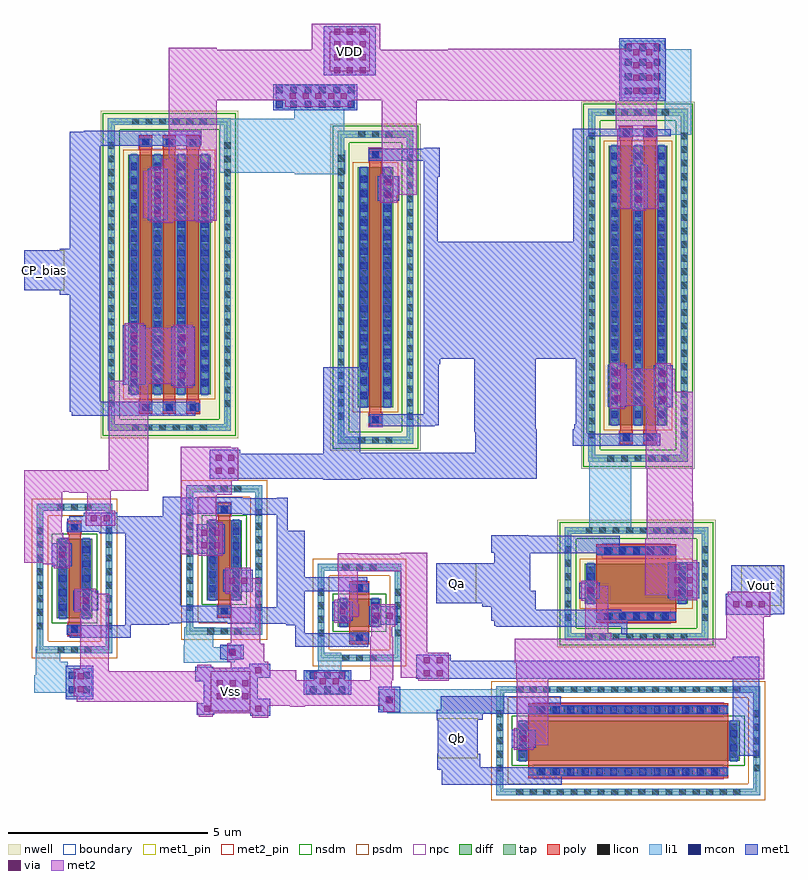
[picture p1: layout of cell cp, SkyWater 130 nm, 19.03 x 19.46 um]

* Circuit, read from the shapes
.subckt cp CP_bias Qa Qb VDD Vout Vss
XM1 Vss n1 n1 Vss sky130_fd_pr__nfet_01v8 w=2 l=0.3
XM2 Vss n1 n2 Vss sky130_fd_pr__nfet_01v8 w=2 l=0.3
XM3 Vss n1 n3 Vss sky130_fd_pr__nfet_01v8 w=0.7 l=0.5
XM4 n3 Qb Vout Vss sky130_fd_pr__nfet_01v8 w=1 l=5
XM5 VDD CP_bias n1 VDD sky130_fd_pr__pfet_01v8 w=6 l=0.3 m=3
XM6 VDD n2 n2 VDD sky130_fd_pr__pfet_01v8 w=6 l=0.3
XM7 n4 Qa Vout VDD sky130_fd_pr__pfet_01v8 w=1 l=2
XM8 VDD n2 n4 VDD sky130_fd_pr__pfet_01v8 w=7 l=0.3 m=2
.ends

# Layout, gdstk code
from math import pi, radians
import gdstk
lib = gdstk.Library(unit=1e-6, precision=1e-09)
def R(c, l, rs):  # rectangles x0, y0, x1, y1
    for r in rs: c.add(gdstk.rectangle(r[:2], r[2:], *l))
def A(c, l, x, y, w, h, nx, ny, dx, dy):  # array of equal rectangles
    R(c, l, [(x+i*dx, y+j*dy, x+i*dx+w, y+j*dy+h) for i in range(nx) for j in range(ny)])
nwell = (64, 20)
diff = (65, 20)
tap = (65, 44)
poly = (66, 20)
licon = (66, 44)
li1 = (67, 20)
mcon = (67, 44)
met1_pin = (68, 16)
met1 = (68, 20)
via = (68, 44)
met2_pin = (69, 16)
met2 = (69, 20)
nsdm = (93, 44)
psdm = (94, 20)
npc = (95, 20)
boundary = (235, 4)

sky130_fd_pr__nfet_01v8_ = lib.new_cell('sky130_fd_pr__nfet_01v8_PFL2KG')
R(sky130_fd_pr__nfet_01v8_, diff, [(-0.44,-1,0.44,1)])
R(sky130_fd_pr__nfet_01v8_, tap, [(-0.95,-1.87,0.95,-1.7), (-0.95,-1.7,-0.78,1.7), (0.78,-1.7,0.95,1.7), (-0.95,1.7,0.95,1.87)])
R(sky130_fd_pr__nfet_01v8_, poly, [(-0.165,-1.44,0.165,-1.11), (-0.15,-1.11,0.15,1.11), (-0.165,1.11,0.165,1.44)])
A(sky130_fd_pr__nfet_01v8_, licon, -0.425, -1.87, 0.17, 0.17, 3, 2, 0.34, 3.57)
A(sky130_fd_pr__nfet_01v8_, licon, -0.95, -1.275, 0.17, 0.17, 1, 8, 0, 0.34)
A(sky130_fd_pr__nfet_01v8_, licon, 0.78, -1.275, 0.17, 0.17, 1, 8, 0, 0.34)
A(sky130_fd_pr__nfet_01v8_, licon, -0.38, -0.935, 0.17, 0.17, 1, 6, 0, 0.34)
A(sky130_fd_pr__nfet_01v8_, licon, 0.21, -0.935, 0.17, 0.17, 1, 6, 0, 0.34)
R(sky130_fd_pr__nfet_01v8_, licon, [(-0.085,-1.36,0.085,-1.19), (-0.085,1.19,0.085,1.36)])
R(sky130_fd_pr__nfet_01v8_, li1, [(-0.95,-1.87,0.95,-1.7), (-0.95,-1.7,-0.78,1.7), (0.78,-1.7,0.95,1.7), (-0.165,-1.36,0.165,-1.19), (-0.38,-1.02,-0.21,1.02), (0.21,-1.02,0.38,1.02), (-0.165,1.19,0.165,1.36), (-0.95,1.7,0.95,1.87)])
A(sky130_fd_pr__nfet_01v8_, mcon, -0.38, -0.805, 0.17, 0.17, 1, 5, 0, 0.36)
A(sky130_fd_pr__nfet_01v8_, mcon, 0.21, -0.805, 0.17, 0.17, 1, 5, 0, 0.36)
R(sky130_fd_pr__nfet_01v8_, mcon, [(-0.085,-1.36,0.085,-1.19), (-0.085,1.19,0.085,1.36)])
R(sky130_fd_pr__nfet_01v8_, met1, [(-0.145,-1.39,0.145,-1.16), (-0.41,-1,-0.18,1), (0.18,-1,0.41,1), (-0.145,1.16,0.145,1.39)])
R(sky130_fd_pr__nfet_01v8_, nsdm, [(-0.565,-1.125,0.565,1.125)])
R(sky130_fd_pr__nfet_01v8_, psdm, [(-1.075,-1.995,1.075,-1.575), (-1.075,-1.575,-0.655,1.575), (0.655,-1.575,1.075,1.575), (-1.075,1.575,1.075,1.995)])
R(sky130_fd_pr__nfet_01v8_, npc, [(-0.185,-1.46,0.185,-1.09), (-0.185,1.09,0.185,1.46)])
R(sky130_fd_pr__nfet_01v8_, boundary, [(-0.865,-1.785,0.865,1.785)])

c_sky130_fd_pr__nfet_01v8_ = lib.new_cell('sky130_fd_pr__nfet_01v8_8PEQNF')
R(c_sky130_fd_pr__nfet_01v8_, diff, [(-0.54,-0.35,0.54,0.35)])
R(c_sky130_fd_pr__nfet_01v8_, tap, [(-1.05,-1.22,1.05,-1.05), (-1.05,-1.05,-0.88,1.05), (0.88,-1.05,1.05,1.05), (-1.05,1.05,1.05,1.22)])
R(c_sky130_fd_pr__nfet_01v8_, poly, [(-0.25,-0.79,0.25,0.79)])
A(c_sky130_fd_pr__nfet_01v8_, licon, -0.425, -1.22, 0.17, 0.17, 3, 2, 0.34, 2.27)
A(c_sky130_fd_pr__nfet_01v8_, licon, -1.05, -0.595, 0.17, 0.17, 1, 4, 0, 0.34)
A(c_sky130_fd_pr__nfet_01v8_, licon, 0.88, -0.595, 0.17, 0.17, 1, 4, 0, 0.34)
R(c_sky130_fd_pr__nfet_01v8_, licon, [(-0.085,-0.71,0.085,-0.54), (-0.48,-0.255,-0.31,-0.085), (0.31,-0.255,0.48,-0.085), (-0.48,0.085,-0.31,0.255), (0.31,0.085,0.48,0.255), (-0.085,0.54,0.085,0.71)])
R(c_sky130_fd_pr__nfet_01v8_, li1, [(-1.05,-1.22,1.05,-1.05), (-1.05,-1.05,-0.88,1.05), (0.88,-1.05,1.05,1.05), (-0.25,-0.71,0.25,-0.54), (-0.48,-0.37,-0.31,0.37), (0.31,-0.37,0.48,0.37), (-0.25,0.54,0.25,0.71), (-1.05,1.05,1.05,1.22)])
R(c_sky130_fd_pr__nfet_01v8_, mcon, [(-0.085,-0.71,0.085,-0.54), (-0.48,-0.265,-0.31,-0.095), (0.31,-0.265,0.48,-0.095), (-0.48,0.095,-0.31,0.265), (0.31,0.095,0.48,0.265), (-0.085,0.54,0.085,0.71)])
R(c_sky130_fd_pr__nfet_01v8_, met1, [(-0.23,-0.74,0.23,-0.51), (-0.51,-0.35,-0.28,0.35), (0.28,-0.35,0.51,0.35), (-0.23,0.51,0.23,0.74)])
R(c_sky130_fd_pr__nfet_01v8_, nsdm, [(-0.665,-0.475,0.665,0.475)])
R(c_sky130_fd_pr__nfet_01v8_, psdm, [(-1.175,-1.345,1.175,-0.925), (-1.175,-0.925,-0.755,0.925), (0.755,-0.925,1.175,0.925), (-1.175,0.925,1.175,1.345)])
R(c_sky130_fd_pr__nfet_01v8_, npc, [(-0.185,-0.81,0.185,-0.44), (-0.185,0.44,0.185,0.81)])
R(c_sky130_fd_pr__nfet_01v8_, boundary, [(-0.96,-1.13,0.96,1.13)])

c_sky130_fd_pr__nfet_01v8__ = lib.new_cell('sky130_fd_pr__nfet_01v8_U4BYG2')
R(c_sky130_fd_pr__nfet_01v8__, diff, [(-2.79,-0.5,2.79,0.5)])
R(c_sky130_fd_pr__nfet_01v8__, tap, [(-3.3,-1.37,3.3,-1.2), (-3.3,-1.2,-3.13,1.2), (3.13,-1.2,3.3,1.2), (-3.3,1.2,3.3,1.37)])
R(c_sky130_fd_pr__nfet_01v8__, poly, [(-2.5,-0.94,2.5,0.94)])
A(c_sky130_fd_pr__nfet_01v8__, licon, -2.805, -1.37, 0.17, 0.17, 17, 2, 0.34, 2.57)
A(c_sky130_fd_pr__nfet_01v8__, licon, -2.295, -0.86, 0.17, 0.17, 14, 2, 0.34, 1.55)
A(c_sky130_fd_pr__nfet_01v8__, licon, -3.3, -0.765, 0.17, 0.17, 1, 5, 0, 0.34)
A(c_sky130_fd_pr__nfet_01v8__, licon, 3.13, -0.765, 0.17, 0.17, 1, 5, 0, 0.34)
A(c_sky130_fd_pr__nfet_01v8__, licon, -2.73, -0.425, 0.17, 0.17, 1, 3, 0, 0.34)
A(c_sky130_fd_pr__nfet_01v8__, licon, 2.56, -0.425, 0.17, 0.17, 1, 3, 0, 0.34)
R(c_sky130_fd_pr__nfet_01v8__, li1, [(-3.3,-1.37,3.3,-1.2), (-3.3,-1.2,-3.13,1.2), (3.13,-1.2,3.3,1.2), (-2.5,-0.86,2.5,-0.69), (-2.73,-0.52,-2.56,0.52), (2.56,-0.52,2.73,0.52), (-2.5,0.69,2.5,0.86), (-3.3,1.2,3.3,1.37)])
A(c_sky130_fd_pr__nfet_01v8__, mcon, -2.245, -0.86, 0.17, 0.17, 13, 2, 0.36, 1.55)
R(c_sky130_fd_pr__nfet_01v8__, mcon, [(-2.73,-0.265,-2.56,-0.095), (2.56,-0.265,2.73,-0.095), (-2.73,0.095,-2.56,0.265), (2.56,0.095,2.73,0.265)])
R(c_sky130_fd_pr__nfet_01v8__, met1, [(-2.48,-0.89,2.48,-0.66), (-2.76,-0.5,-2.53,0.5), (2.53,-0.5,2.76,0.5), (-2.48,0.66,2.48,0.89)])
R(c_sky130_fd_pr__nfet_01v8__, nsdm, [(-2.915,-0.625,2.915,0.625)])
R(c_sky130_fd_pr__nfet_01v8__, psdm, [(-3.425,-1.495,3.425,-1.075), (-3.425,-1.075,-3.005,1.075), (3.005,-1.075,3.425,1.075), (-3.425,1.075,3.425,1.495)])
R(c_sky130_fd_pr__nfet_01v8__, npc, [(-2.395,-0.96,2.395,-0.59), (-2.395,0.59,2.395,0.96)])
R(c_sky130_fd_pr__nfet_01v8__, boundary, [(-3.21,-1.28,3.21,1.28)])

sky130_fd_pr__pfet_01v8_ = lib.new_cell('sky130_fd_pr__pfet_01v8_6QN7WZ')
R(sky130_fd_pr__pfet_01v8_, nwell, [(-1.425,-4.595,1.425,4.595)])
R(sky130_fd_pr__pfet_01v8_, diff, [(-0.735,-3.5,0.735,3.5)])
R(sky130_fd_pr__pfet_01v8_, tap, [(-1.245,-4.415,1.245,-4.245), (-1.245,-4.245,-1.075,4.245), (1.075,-4.245,1.245,4.245), (-1.245,4.245,1.245,4.415)])
R(sky130_fd_pr__pfet_01v8_, poly, [(-0.46,-3.985,-0.13,-3.655), (0.13,-3.985,0.46,-3.655), (-0.445,-3.655,-0.145,3.655), (0.145,-3.655,0.445,3.655), (-0.46,3.655,-0.13,3.985), (0.13,3.655,0.46,3.985)])
A(sky130_fd_pr__pfet_01v8_, licon, -0.765, -4.415, 0.17, 0.17, 5, 2, 0.34, 8.66)
A(sky130_fd_pr__pfet_01v8_, licon, -1.245, -3.825, 0.17, 0.17, 1, 23, 0, 0.34)
A(sky130_fd_pr__pfet_01v8_, licon, 1.075, -3.825, 0.17, 0.17, 1, 23, 0, 0.34)
A(sky130_fd_pr__pfet_01v8_, licon, -0.675, -3.315, 0.17, 0.17, 3, 20, 0.59, 0.34)
R(sky130_fd_pr__pfet_01v8_, licon, [(-0.38,-3.905,-0.21,-3.735), (0.21,-3.905,0.38,-3.735), (-0.38,3.735,-0.21,3.905), (0.21,3.735,0.38,3.905)])
A(sky130_fd_pr__pfet_01v8_, li1, -0.675, -3.52, 0.17, 7.04, 3, 1, 0.59, 0)
R(sky130_fd_pr__pfet_01v8_, li1, [(-1.245,-4.415,1.245,-4.245), (-1.245,-4.245,-1.075,4.245), (1.075,-4.245,1.245,4.245), (-0.46,-3.905,-0.13,-3.735), (0.13,-3.905,0.46,-3.735), (-0.46,3.735,-0.13,3.905), (0.13,3.735,0.46,3.905), (-1.245,4.245,1.245,4.415)])
A(sky130_fd_pr__pfet_01v8_, mcon, -0.675, -3.325, 0.17, 0.17, 3, 19, 0.59, 0.36)
R(sky130_fd_pr__pfet_01v8_, mcon, [(-0.38,-3.905,-0.21,-3.735), (0.21,-3.905,0.38,-3.735), (-0.38,3.735,-0.21,3.905), (0.21,3.735,0.38,3.905)])
A(sky130_fd_pr__pfet_01v8_, met1, -0.705, -3.5, 0.23, 7, 3, 1, 0.59, 0)
R(sky130_fd_pr__pfet_01v8_, met1, [(-0.44,-3.935,-0.15,-3.705), (0.15,-3.935,0.44,-3.705), (-0.44,3.705,-0.15,3.935), (0.15,3.705,0.44,3.935)])
R(sky130_fd_pr__pfet_01v8_, nsdm, [(-1.37,-4.54,1.37,-4.12), (-1.37,-4.12,-0.95,4.12), (0.95,-4.12,1.37,4.12), (-1.37,4.12,1.37,4.54)])
R(sky130_fd_pr__pfet_01v8_, psdm, [(-0.86,-3.625,0.86,3.625)])
R(sky130_fd_pr__pfet_01v8_, npc, [(-0.48,-4.005,0.48,-3.635), (-0.48,3.635,0.48,4.005)])
R(sky130_fd_pr__pfet_01v8_, boundary, [(-1.16,-4.33,1.16,4.33)])

c_sky130_fd_pr__pfet_01v8_ = lib.new_cell('sky130_fd_pr__pfet_01v8_6QP7WZ')
R(c_sky130_fd_pr__pfet_01v8_, nwell, [(-1.13,-4.095,1.13,4.095)])
R(c_sky130_fd_pr__pfet_01v8_, diff, [(-0.44,-3,0.44,3)])
R(c_sky130_fd_pr__pfet_01v8_, tap, [(-0.95,-3.915,0.95,-3.745), (-0.95,-3.745,-0.78,3.745), (0.78,-3.745,0.95,3.745), (-0.95,3.745,0.95,3.915)])
R(c_sky130_fd_pr__pfet_01v8_, poly, [(-0.165,-3.485,0.165,-3.155), (-0.15,-3.155,0.15,3.155), (-0.165,3.155,0.165,3.485)])
A(c_sky130_fd_pr__pfet_01v8_, licon, -0.425, -3.915, 0.17, 0.17, 3, 2, 0.34, 7.66)
A(c_sky130_fd_pr__pfet_01v8_, licon, -0.95, -3.315, 0.17, 0.17, 1, 20, 0, 0.34)
A(c_sky130_fd_pr__pfet_01v8_, licon, 0.78, -3.315, 0.17, 0.17, 1, 20, 0, 0.34)
A(c_sky130_fd_pr__pfet_01v8_, licon, -0.38, -2.805, 0.17, 0.17, 1, 17, 0, 0.34)
A(c_sky130_fd_pr__pfet_01v8_, licon, 0.21, -2.805, 0.17, 0.17, 1, 17, 0, 0.34)
R(c_sky130_fd_pr__pfet_01v8_, licon, [(-0.085,-3.405,0.085,-3.235), (-0.085,3.235,0.085,3.405)])
R(c_sky130_fd_pr__pfet_01v8_, li1, [(-0.95,-3.915,0.95,-3.745), (-0.95,-3.745,-0.78,3.745), (0.78,-3.745,0.95,3.745), (-0.165,-3.405,0.165,-3.235), (-0.38,-3.02,-0.21,3.02), (0.21,-3.02,0.38,3.02), (-0.165,3.235,0.165,3.405), (-0.95,3.745,0.95,3.915)])
A(c_sky130_fd_pr__pfet_01v8_, mcon, -0.38, -2.785, 0.17, 0.17, 1, 16, 0, 0.36)
A(c_sky130_fd_pr__pfet_01v8_, mcon, 0.21, -2.785, 0.17, 0.17, 1, 16, 0, 0.36)
R(c_sky130_fd_pr__pfet_01v8_, mcon, [(-0.085,-3.405,0.085,-3.235), (-0.085,3.235,0.085,3.405)])
R(c_sky130_fd_pr__pfet_01v8_, met1, [(-0.145,-3.435,0.145,-3.205), (-0.41,-3,-0.18,3), (0.18,-3,0.41,3), (-0.145,3.205,0.145,3.435)])
R(c_sky130_fd_pr__pfet_01v8_, nsdm, [(-1.075,-4.04,1.075,-3.62), (-1.075,-3.62,-0.655,3.62), (0.655,-3.62,1.075,3.62), (-1.075,3.62,1.075,4.04)])
R(c_sky130_fd_pr__pfet_01v8_, psdm, [(-0.565,-3.125,0.565,3.125)])
R(c_sky130_fd_pr__pfet_01v8_, npc, [(-0.185,-3.505,0.185,-3.135), (-0.185,3.135,0.185,3.505)])
R(c_sky130_fd_pr__pfet_01v8_, boundary, [(-0.865,-3.83,0.865,3.83)])

c_sky130_fd_pr__pfet_01v8__ = lib.new_cell('sky130_fd_pr__pfet_01v8_VLWSF2')
R(c_sky130_fd_pr__pfet_01v8__, nwell, [(-1.98,-1.595,1.98,1.595)])
R(c_sky130_fd_pr__pfet_01v8__, diff, [(-1.29,-0.5,1.29,0.5)])
R(c_sky130_fd_pr__pfet_01v8__, tap, [(-1.8,-1.415,1.8,-1.245), (-1.8,-1.245,-1.63,1.245), (1.63,-1.245,1.8,1.245), (-1.8,1.245,1.8,1.415)])
R(c_sky130_fd_pr__pfet_01v8__, poly, [(-1,-0.985,1,0.985)])
A(c_sky130_fd_pr__pfet_01v8__, licon, -1.275, -1.415, 0.17, 0.17, 8, 2, 0.34, 2.66)
A(c_sky130_fd_pr__pfet_01v8__, licon, -1.8, -0.935, 0.17, 0.17, 1, 6, 0, 0.34)
A(c_sky130_fd_pr__pfet_01v8__, licon, 1.63, -0.935, 0.17, 0.17, 1, 6, 0, 0.34)
A(c_sky130_fd_pr__pfet_01v8__, licon, -0.765, -0.905, 0.17, 0.17, 5, 2, 0.34, 1.64)
A(c_sky130_fd_pr__pfet_01v8__, licon, -1.23, -0.425, 0.17, 0.17, 1, 3, 0, 0.34)
A(c_sky130_fd_pr__pfet_01v8__, licon, 1.06, -0.425, 0.17, 0.17, 1, 3, 0, 0.34)
R(c_sky130_fd_pr__pfet_01v8__, li1, [(-1.8,-1.415,1.8,-1.245), (-1.8,-1.245,-1.63,1.245), (1.63,-1.245,1.8,1.245), (-1,-0.905,1,-0.735), (-1.23,-0.52,-1.06,0.52), (1.06,-0.52,1.23,0.52), (-1,0.735,1,0.905), (-1.8,1.245,1.8,1.415)])
A(c_sky130_fd_pr__pfet_01v8__, mcon, -0.805, -0.905, 0.17, 0.17, 5, 2, 0.36, 1.64)
R(c_sky130_fd_pr__pfet_01v8__, mcon, [(-1.23,-0.265,-1.06,-0.095), (1.06,-0.265,1.23,-0.095), (-1.23,0.095,-1.06,0.265), (1.06,0.095,1.23,0.265)])
R(c_sky130_fd_pr__pfet_01v8__, met1, [(-0.98,-0.935,0.98,-0.705), (-1.26,-0.5,-1.03,0.5), (1.03,-0.5,1.26,0.5), (-0.98,0.705,0.98,0.935)])
R(c_sky130_fd_pr__pfet_01v8__, nsdm, [(-1.925,-1.54,1.925,-1.12), (-1.925,-1.12,-1.505,1.12), (1.505,-1.12,1.925,1.12), (-1.925,1.12,1.925,1.54)])
R(c_sky130_fd_pr__pfet_01v8__, psdm, [(-1.415,-0.625,1.415,0.625)])
R(c_sky130_fd_pr__pfet_01v8__, npc, [(-0.865,-1.005,0.865,-0.635), (-0.865,0.635,0.865,1.005)])
R(c_sky130_fd_pr__pfet_01v8__, boundary, [(-1.715,-1.33,1.715,1.33)])

c_sky130_fd_pr__pfet_01v8___ = lib.new_cell('sky130_fd_pr__pfet_01v8_6QF7WZ')
R(c_sky130_fd_pr__pfet_01v8___, nwell, [(-1.72,-4.095,1.72,4.095)])
R(c_sky130_fd_pr__pfet_01v8___, diff, [(-1.03,-3,1.03,3)])
R(c_sky130_fd_pr__pfet_01v8___, tap, [(-1.54,-3.915,1.54,-3.745), (-1.54,-3.745,-1.37,3.745), (1.37,-3.745,1.54,3.745), (-1.54,3.745,1.54,3.915)])
A(c_sky130_fd_pr__pfet_01v8___, poly, -0.755, -3.485, 0.33, 0.33, 3, 2, 0.59, 6.64)
A(c_sky130_fd_pr__pfet_01v8___, poly, -0.74, -3.155, 0.3, 6.31, 3, 1, 0.59, 0)
A(c_sky130_fd_pr__pfet_01v8___, licon, -0.935, -3.915, 0.17, 0.17, 6, 2, 0.34, 7.66)
A(c_sky130_fd_pr__pfet_01v8___, licon, -0.675, -3.405, 0.17, 0.17, 3, 2, 0.59, 6.64)
A(c_sky130_fd_pr__pfet_01v8___, licon, -1.54, -3.315, 0.17, 0.17, 1, 20, 0, 0.34)
A(c_sky130_fd_pr__pfet_01v8___, licon, 1.37, -3.315, 0.17, 0.17, 1, 20, 0, 0.34)
A(c_sky130_fd_pr__pfet_01v8___, licon, -0.97, -2.805, 0.17, 0.17, 4, 17, 0.59, 0.34)
A(c_sky130_fd_pr__pfet_01v8___, li1, -0.755, -3.405, 0.33, 0.17, 3, 2, 0.59, 6.64)
A(c_sky130_fd_pr__pfet_01v8___, li1, -0.97, -3.02, 0.17, 6.04, 4, 1, 0.59, 0)
R(c_sky130_fd_pr__pfet_01v8___, li1, [(-1.54,-3.915,1.54,-3.745), (-1.54,-3.745,-1.37,3.745), (1.37,-3.745,1.54,3.745), (-1.54,3.745,1.54,3.915)])
A(c_sky130_fd_pr__pfet_01v8___, mcon, -0.675, -3.405, 0.17, 0.17, 3, 2, 0.59, 6.64)
A(c_sky130_fd_pr__pfet_01v8___, mcon, -0.97, -2.785, 0.17, 0.17, 4, 16, 0.59, 0.36)
A(c_sky130_fd_pr__pfet_01v8___, met1, -0.735, -3.435, 0.29, 0.23, 3, 2, 0.59, 6.64)
A(c_sky130_fd_pr__pfet_01v8___, met1, -1, -3, 0.23, 6, 4, 1, 0.59, 0)
R(c_sky130_fd_pr__pfet_01v8___, nsdm, [(-1.665,-4.04,1.665,-3.62), (-1.665,-3.62,-1.245,3.62), (1.245,-3.62,1.665,3.62), (-1.665,3.62,1.665,4.04)])
R(c_sky130_fd_pr__pfet_01v8___, psdm, [(-1.155,-3.125,1.155,3.125)])
R(c_sky130_fd_pr__pfet_01v8___, npc, [(-0.775,-3.505,0.775,-3.135), (-0.775,3.135,0.775,3.505)])
R(c_sky130_fd_pr__pfet_01v8___, boundary, [(-1.455,-3.83,1.455,3.83)])

c_cp = lib.new_cell('cp')
R(c_cp, li1, [(25.56,-23.97,28.49,-23.89), (25.36,-23.89,28.49,-23.37), (17.53,-23.56,18.16,-23.46), (23.52,-23.48,24.6,-22.92), (16.72,-23.46,18.16,-23.02), (16.75,-23.02,18.16,-22.84), (23.83,-22.92,24.4,-22.46), (16.75,-22.84,17.55,-22.68), (20.46,-22.7,21.05,-22.69), (20.46,-22.69,21.74,-22.59), (16.75,-22.68,17.37,-22.3), (20.46,-22.59,21.9,-22.32), (20.46,-22.32,21.2,-22.26), (21.44,-22.32,21.9,-22.28), (20.47,-22.26,21.2,-21.98), (20.47,-21.98,21.25,-21.82), (30.61,-19.48,31.66,-17.5), (23.24,-10.48,24.5,-10.44), (21.36,-10.44,24.5,-9.87), (21.36,-9.87,24.48,-9.08), (32.5,-9.49,33.17,-8.57), (23.23,-9.08,24.48,-8.84), (22.76,-8.84,24.74,-8.25), (31.4,-8.57,33.17,-7.34), (31.4,-7.34,32.5,-7.13)])
A(c_cp, mcon, 23.615, -23.465, 0.17, 0.17, 3, 2, 0.36, 0.36)
A(c_cp, mcon, 22.765, -8.81, 0.17, 0.17, 6, 2, 0.36, 0.36)
A(c_cp, mcon, 31.505, -8.475, 0.17, 0.17, 3, 4, 0.36, 0.36)
R(c_cp, mcon, [(25.52,-23.715,25.69,-23.545), (17.58,-23.465,17.75,-23.295), (17.94,-23.465,18.11,-23.295), (17.58,-23.105,17.75,-22.935), (17.94,-23.105,18.11,-22.935), (21.585,-22.52,21.755,-22.35)])
R(c_cp, met1_pin, [(26.82,-25.1,27.82,-24.1), (34.42,-21.28,35.42,-20.28), (26.78,-21.22,27.78,-20.22), (16.47,-13.38,17.47,-12.38)])
R(c_cp, met1, [(26.92,-25.76,29.93,-25.39), (26.81,-25.39,29.93,-25.32), (26.81,-25.32,27.88,-24.99), (34.21,-25.04,34.87,-23.11), (26.82,-24.99,27.82,-24.15), (28.67,-24.83,29.27,-24.39), (26.8,-24.15,27.82,-24.13), (26.8,-24.13,27.95,-23.98), (22.13,-24.03,22.62,-23.97), (20.79,-24.01,21.23,-23.97), (26.8,-23.98,29.9,-23.88), (20.79,-23.97,22.62,-23.72), (25.33,-23.95,25.88,-23.31), (26.89,-23.88,29.9,-23.54), (20.96,-23.72,22.62,-23.61), (17.5,-23.62,18.19,-22.78), (20.96,-23.61,22.31,-23.17), (23.46,-23.51,24.66,-22.89), (20.75,-23.17,22.31,-23.08), (26.28,-23.11,34.87,-22.65), (20.75,-23.08,22.62,-22.83), (20.75,-22.83,21.2,-22.81), (22.1,-22.83,22.62,-22.73), (26.28,-22.65,27.14,-22.5), (34.21,-22.65,34.87,-22.55), (21.5,-22.63,21.88,-22.62), (21.38,-22.62,21.96,-22.25), (23.25,-22.31,25.08,-22.05), (17.6,-22.08,19.13,-22), (23.25,-22.05,24.95,-21.97), (17.53,-22,19.13,-21.77), (31.42,-21.99,31.57,-21.8), (23.25,-21.97,23.49,-21.77), (28.28,-21.8,31.57,-21.78), (28.24,-21.78,31.57,-21.66), (18.99,-21.77,19.13,-21.76), (23.03,-21.77,23.49,-21.73), (18.99,-21.76,20.1,-21.72), (25.11,-21.76,25.8,-21.29), (21.56,-21.73,23.49,-21.69), (18.99,-21.72,20.39,-21.7), (19,-21.7,20.39,-21.69), (19,-21.69,23.49,-21.32), (28.16,-21.66,31.57,-21.54), (24.18,-21.65,24.69,-21.18), (28.16,-21.54,31.42,-21.38), (34.03,-21.5,35.2,-21.49), (34.03,-21.49,35.49,-20.98), (17.69,-21.39,18.32,-20.9), (28.16,-21.38,29.28,-21.31), (19,-21.32,21.62,-21.28), (22.79,-21.32,23.49,-20.91), (27.93,-21.31,29.28,-21.22), (19,-21.28,20.39,-19.46), (26.78,-21.22,29.28,-20.9), (30.36,-21.1,30.88,-20.7), (32.58,-21.09,33.37,-20.19), (34.17,-20.98,35.49,-20.26), (21.45,-20.93,22.19,-20.38), (22.79,-20.91,25.06,-20.57), (26.78,-20.9,29.14,-20.22), (22.79,-20.57,23.49,-19.4), (17.16,-20.29,17.65,-19.72), (28.23,-20.22,29.14,-19.96), (20.78,-19.98,21.49,-19.24), (28.23,-19.96,31.38,-19.95), (28.16,-19.95,31.38,-19.53), (28.16,-19.53,29.09,-19.51), (18.34,-19.46,20.39,-19.42), (17.53,-19.42,20.39,-19.17), (22.79,-19.4,23.07,-19), (17.54,-19.17,20.39,-19.1), (17.59,-19.1,20.39,-19.04), (17.95,-19.04,18.79,-18.95), (19.93,-19.04,20.39,-18.99), (21.94,-19,23.07,-18.98), (19.93,-18.99,20.76,-18.98), (19.93,-18.98,23.07,-18.59), (19.93,-18.59,21.94,-18.58), (22.79,-18.59,23.07,-18.58), (19.93,-18.58,20.39,-18.55), (20.76,-18.58,21.94,-18.56), (23.95,-18.13,24.88,-18.1), (21.11,-18.1,29.3,-17.47), (21.11,-17.47,21.88,-17.37), (23.95,-17.47,29.3,-17.45), (23.95,-17.45,24.88,-16.02), (27.76,-17.45,29.3,-16.92), (30.2,-17.27,32.39,-16.97), (30.2,-16.97,30.56,-16.86), (27.74,-16.92,29.3,-16.86), (27.74,-16.86,29.28,-15.1), (30.24,-16.86,30.56,-16.73), (25.12,-16.79,26.74,-16.76), (25.12,-16.76,26.85,-16.49), (30.27,-16.73,30.56,-15.1), (17.66,-16.52,20.75,-16.42), (26.47,-16.49,26.85,-15.23), (17.6,-16.42,20.75,-16.17), (32.23,-16.31,32.7,-15.26), (31.08,-16.29,31.55,-15.24), (17.6,-16.17,18.37,-13.49), (23.95,-16.02,25.09,-15.31), (20.15,-15.77,20.73,-14.29), (18.93,-15.74,19.51,-14.26), (26.47,-15.23,26.88,-15.1), (26.47,-15.1,30.56,-12.17), (17.35,-13.49,18.37,-13.38), (16.47,-13.38,18.37,-12.38), (17.35,-12.38,18.37,-12.34), (17.6,-12.34,18.37,-9.76), (26.47,-12.17,26.82,-10.54), (30.21,-12.17,30.56,-10.54), (20.72,-11.63,21.22,-10.35), (19.56,-11.62,20.06,-10.34), (31.64,-11.34,32.08,-10.24), (25.32,-11.14,25.86,-10.53), (26.47,-10.54,26.87,-10.14), (30.2,-10.54,30.56,-9.52), (25.09,-10.14,26.87,-9.84), (26.47,-9.84,26.87,-9.81), (17.6,-9.76,20.9,-9.41), (30.2,-9.52,32.66,-9.35), (17.95,-9.41,20.9,-9.38), (30.2,-9.35,32.11,-9.33), (22.7,-8.87,24.8,-8.22), (31.37,-8.63,32.53,-7.07), (23.97,-8,25.27,-6.77)])
A(c_cp, via, 21.29, -23.615, 0.15, 0.15, 3, 2, 0.32, 0.32)
A(c_cp, via, 34.22, -21.315, 0.15, 0.15, 3, 1, 0.32, 0)
A(c_cp, via, 32.74, -21.035, 0.15, 0.15, 1, 3, 0, 0.32)
A(c_cp, via, 33.06, -21.035, 0.15, 0.15, 1, 3, 0, 0.32)
A(c_cp, via, 32.39, -16.18, 0.15, 0.15, 1, 3, 0, 0.32)
A(c_cp, via, 31.24, -16.16, 0.15, 0.15, 1, 3, 0, 0.32)
A(c_cp, via, 20.365, -15.585, 0.15, 0.15, 1, 4, 0, 0.32)
A(c_cp, via, 19.145, -15.555, 0.15, 0.15, 1, 4, 0, 0.32)
A(c_cp, via, 20.895, -11.545, 0.15, 0.15, 1, 4, 0, 0.32)
A(c_cp, via, 19.735, -11.535, 0.15, 0.15, 1, 4, 0, 0.32)
A(c_cp, via, 31.785, -11.185, 0.15, 0.15, 1, 3, 0, 0.32)
A(c_cp, via, 23.115, -8.59, 0.15, 0.15, 5, 1, 0.32, 0)
A(c_cp, via, 31.715, -8.455, 0.15, 0.15, 1, 4, 0, 0.32)
A(c_cp, via, 32.035, -8.455, 0.15, 0.15, 1, 4, 0, 0.32)
A(c_cp, via, 24.225, -7.94, 0.15, 0.15, 3, 4, 0.32, 0.32)
R(c_cp, via, [(28.895,-24.685,29.045,-24.535), (20.97,-23.935,21.12,-23.785), (22.25,-23.935,22.4,-23.785), (25.525,-23.72,25.675,-23.57), (17.81,-23.445,17.96,-23.295), (23.87,-23.245,24.02,-23.095), (24.19,-23.245,24.34,-23.095), (17.81,-23.125,17.96,-22.975), (26.475,-23.04,26.625,-22.89), (26.795,-23.04,26.945,-22.89), (22.25,-22.975,22.4,-22.825), (26.475,-22.72,26.625,-22.57), (26.795,-22.72,26.945,-22.57), (21.615,-22.525,21.765,-22.375), (25.22,-21.6,25.37,-21.45), (25.54,-21.6,25.69,-21.45), (24.36,-21.49,24.51,-21.34), (17.93,-21.22,18.08,-21.07), (30.545,-20.975,30.695,-20.825), (21.585,-20.73,21.735,-20.58), (21.905,-20.73,22.055,-20.58), (17.33,-20.08,17.48,-19.93), (20.9,-19.845,21.05,-19.695), (21.22,-19.845,21.37,-19.695), (20.9,-19.525,21.05,-19.375), (21.22,-19.525,21.37,-19.375), (18.135,-19.16,18.285,-19.01), (18.455,-19.16,18.605,-19.01), (21.26,-17.97,21.41,-17.82), (21.58,-17.97,21.73,-17.82), (21.26,-17.65,21.41,-17.5), (21.58,-17.65,21.73,-17.5), (25.515,-11.07,25.665,-10.92), (25.515,-10.75,25.665,-10.6)])
R(c_cp, met2_pin, [(21.13,-23.92,22.13,-22.92), (24.12,-7.9,25.12,-6.9)])
R(c_cp, met2, [(28.72,-24.88,29.22,-24.77), (28.72,-24.77,29.59,-24.34), (28.8,-24.34,29.59,-23.12), (22.18,-24.08,22.57,-23.97), (20.84,-24.06,21.18,-24), (20.8,-24,21.18,-23.97), (20.8,-23.97,22.57,-23.78), (25.46,-23.93,25.74,-23.78), (23.13,-23.81,23.49,-23.78), (20.8,-23.78,25.74,-23.68), (17.78,-23.68,25.74,-23.55), (17.71,-23.55,25.74,-23.36), (17.71,-23.36,25.67,-23.14), (26.33,-23.16,27.09,-23.08), (17.71,-23.14,23.28,-22.92), (23.73,-23.14,24.48,-22.94), (25.13,-23.14,25.7,-22.05), (28.79,-23.12,34.99,-22.7), (25.89,-23.08,27.09,-22.45), (17.71,-22.92,18.58,-22.87), (20.8,-22.92,23.28,-22.9), (20.8,-22.9,23.22,-22.89), (20.8,-22.89,22.57,-22.83), (17.87,-22.87,18.58,-21.44), (20.8,-22.83,21.15,-22.76), (21.64,-22.83,22.57,-22.68), (28.75,-22.7,34.99,-22.1), (21.55,-22.68,22.47,-22.23), (25.89,-22.45,26.56,-20.41), (21.55,-22.23,22.37,-22.22), (21.64,-22.22,22.37,-20.98), (30.51,-22.1,31.16,-21.96), (34.05,-22.1,34.98,-21.55), (25.16,-22.05,25.68,-21.81), (30.51,-21.96,31.09,-21.15), (25.16,-21.81,25.75,-21.24), (24.23,-21.7,24.64,-21.55), (24.23,-21.55,24.84,-21.23), (34.05,-21.55,35.15,-21.05), (17.72,-21.44,18.58,-21.27), (17.72,-21.27,18.6,-20.98), (24.23,-21.23,24.82,-21.13), (30.41,-21.15,31.09,-20.78), (32.63,-21.14,33.32,-21.01), (24.33,-21.13,24.82,-20.41), (34.08,-21.05,35.15,-20.93), (32.02,-21.01,33.32,-20.14), (17.72,-20.98,18.27,-20.85), (21.5,-20.98,22.37,-20.59), (30.41,-20.78,30.83,-20.65), (21.5,-20.59,22.14,-20.33), (24.31,-20.41,26.56,-19.98), (17.21,-20.34,17.6,-20.24), (16.94,-20.24,17.6,-20.2), (16.46,-20.2,17.6,-19.67), (32.02,-20.14,33.2,-19.6), (20.83,-20.03,21.44,-19.99), (20.39,-19.99,21.44,-19.19), (24.33,-19.98,24.82,-19.97), (25.89,-19.98,26.56,-19.95), (16.46,-19.67,17.58,-19.58), (32.05,-19.6,33.22,-18.69), (16.46,-19.58,17.44,-19.45), (16.46,-19.45,17.4,-19.06), (18,-19.27,18.74,-18.9), (20.39,-19.19,21.29,-19.02), (16.46,-19.06,17.42,-18.42), (20.39,-19.02,21.28,-18.53), (18.05,-18.9,18.63,-18.45), (32.05,-18.69,33.2,-17.83), (20.39,-18.53,21.29,-18.5), (20.39,-18.5,21.66,-18.15), (17.59,-18.45,18.63,-18.42), (16.46,-18.42,18.63,-18.4), (16.46,-18.4,19.57,-18.1), (20.39,-18.15,21.83,-17.32), (16.47,-18.1,19.57,-17.88), (18.58,-17.88,19.57,-15.72), (32.03,-17.83,33.21,-16.27), (20.39,-17.32,21.64,-17.3), (31.13,-16.34,31.5,-16.27), (31.13,-16.27,33.21,-15.92), (31.13,-15.92,32.77,-15.34), (20.2,-15.82,20.68,-15.72), (18.58,-15.72,20.75,-15.65), (18.98,-15.65,20.75,-14.32), (31.13,-15.34,31.5,-15.19), (32.28,-15.34,32.65,-15.21), (18.98,-14.32,19.46,-14.21), (20.2,-14.32,20.68,-14.24), (19.94,-11.69,20.2,-11.67), (20.77,-11.68,21.17,-11.64), (19.61,-11.67,20.2,-11.64), (19.61,-11.64,21.29,-11.58), (19.44,-11.58,21.29,-10.39), (31.69,-11.39,32.03,-11.34), (31.31,-11.34,32.35,-10.23), (25.37,-11.19,25.81,-10.99), (25.37,-10.99,26.29,-10.48), (25.42,-10.48,26.29,-8.62), (19.61,-10.39,21.29,-10.29), (19.92,-10.29,21.29,-10.09), (31.31,-10.23,32.31,-9.36), (20.08,-10.09,21.29,-8.62), (31.28,-9.36,32.31,-9.35), (31.28,-9.35,32.3,-8.63), (23,-8.79,24.66,-8.62), (27.08,-8.63,32.3,-8.62), (20.08,-8.62,32.3,-8.6), (20.08,-8.6,32.35,-7.36), (20.08,-7.36,21.29,-7.31), (23.66,-7.36,25.38,-6.7), (27.08,-7.36,32.35,-7.33), (31.55,-7.33,32.35,-7.2)])
c_cp.add(gdstk.Reference(sky130_fd_pr__nfet_01v8_, (17.725,-20.595)))
c_cp.add(gdstk.Reference(c_sky130_fd_pr__nfet_01v8_, (24.86,-21.45)))
c_cp.add(gdstk.Reference(c_sky130_fd_pr__nfet_01v8__, (31.59,-24.66)))
c_cp.add(gdstk.Reference(sky130_fd_pr__pfet_01v8_, (31.835,-13.255)))
c_cp.add(gdstk.Reference(c_sky130_fd_pr__pfet_01v8_, (25.26,-13.305)))
c_cp.add(gdstk.Reference(c_sky130_fd_pr__pfet_01v8__, (31.795,-20.725), rotation=pi))
c_cp.add(gdstk.Reference(c_sky130_fd_pr__pfet_01v8___, (20.1,-12.985)))
c_cp.add(gdstk.Reference(sky130_fd_pr__nfet_01v8_, (21.475,-20.135)))
c_cp.add(gdstk.Label('Qb', (27.32,-24.6), layer=68, texttype=5))
c_cp.add(gdstk.Label('Qa', (27.28,-20.72), layer=68, texttype=5))
c_cp.add(gdstk.Label('Vout', (34.92,-20.78), layer=68, texttype=5))
c_cp.add(gdstk.Label('CP_bias', (16.97,-12.88), layer=68, texttype=5))
c_cp.add(gdstk.Label('VDD', (24.62,-7.4), layer=69, texttype=5))
c_cp.add(gdstk.Label('Vss', (21.63,-23.42), layer=69, texttype=5))

lib.write_gds('cp.gds')
